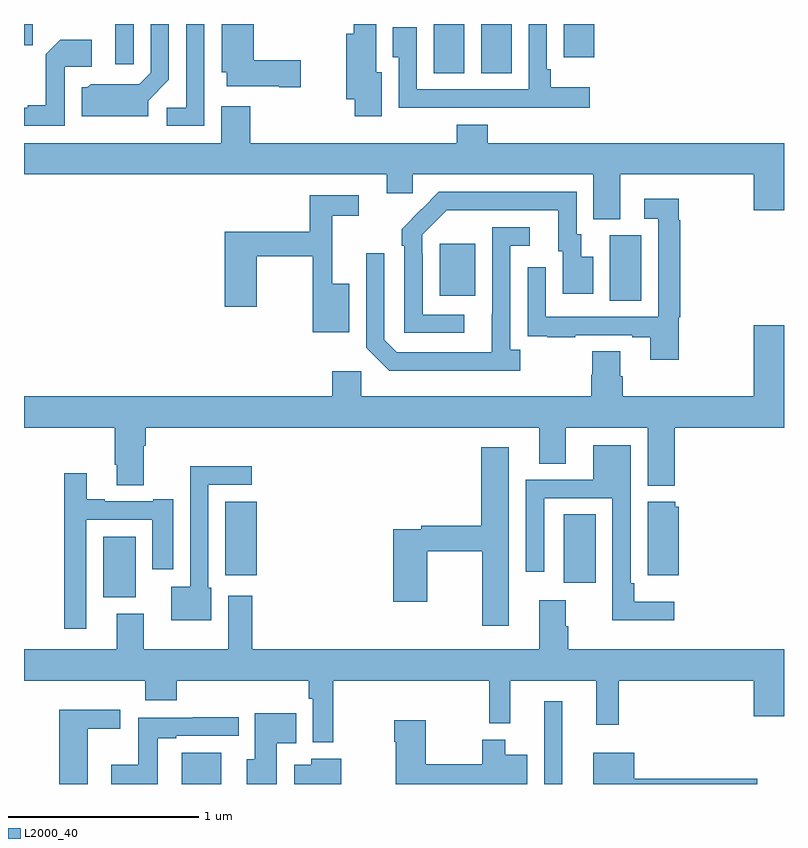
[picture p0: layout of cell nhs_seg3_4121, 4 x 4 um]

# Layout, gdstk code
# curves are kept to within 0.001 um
import gdstk
lib = gdstk.Library(unit=1e-6, precision=1e-09)
def R(c, l, rs):  # rectangles x0, y0, x1, y1
    for r in rs: c.add(gdstk.rectangle(r[:2], r[2:], *l))
def P(c, l, *ps):  # polygons
    for p in ps: c.add(gdstk.Polygon(p, *l))
L2000_40 = (2000, 40)

nhs_seg3_4121 = lib.new_cell('nhs_seg3_4121')
R(nhs_seg3_4121, L2000_40, [(329.831,672.4,330.037,672.565), (331.737,672.4,331.834,672.835), (329.417,673.382,329.587,673.702), (331.841,673.458,332.008,673.82), (330.059,673.499,330.226,673.885), (332.084,674.944,332.248,675.288), (331.187,674.969,331.375,675.244), (331.157,676.141,331.318,676.4), (331.406,676.141,331.567,676.4), (329.481,676.188,329.577,676.4), (331.841,676.224,332,676.4), (329,676.288,329.045,676.4)])
P(nhs_seg3_4121, L2000_40, [(331.193,675.96),(331.559,675.96),(331.559,675.959),(331.978,675.959),(331.978,676.066),(331.772,676.066),(331.772,676.162),(331.752,676.162),(331.752,676.4),(331.656,676.4),(331.656,676.056),(331.068,676.056),(331.068,676.384),(330.941,676.384),(330.941,676.225),(330.972,676.225),(330.972,675.959),(331.193,675.959)],
  [(330.457,676.208),(330.208,676.208),(330.208,676.4),(330.041,676.4),(330.041,676.146),(330.068,676.146),(330.068,676.073),(330.344,676.073),(330.344,676.066),(330.457,676.066)],
  [(329.653,675.996),(329.763,676.106),(329.763,676.4),(329.667,676.4),(329.667,676.143),(329.607,676.083),(329.35,676.084),(329.334,676.068),(329.303,676.068),(329.303,675.914),(329.653,675.914)],
  [(330.883,676.147),(330.853,676.147),(330.853,676.4),(330.735,676.4),(330.735,676.348),(330.695,676.348),(330.695,676.004),(330.74,676.004),(330.74,675.915),(330.883,675.915)],
  [(329.949,676.4),(329.853,676.4),(329.853,675.96),(329.751,675.96),(329.751,675.864),(329.949,675.864)],
  [(329.214,676.176),(329.356,676.176),(329.356,676.316),(329.191,676.316),(329.115,676.24),(329.115,675.973),(329.021,675.973),(329.021,675.96),(329,675.96),(329,675.864),(329.214,675.864)],
  [(332.137,675.608),(332.84,675.608),(332.84,675.42),(333,675.42),(333,675.772),(331.442,675.772),(331.442,675.871),(331.277,675.871),(331.277,675.772),(330.191,675.772),(330.191,675.967),(330.038,675.967),(330.038,675.772),(329,675.772),(329,675.608),(330.908,675.608),(330.908,675.51),(331.047,675.51),(331.047,675.608),(331.997,675.608),(331.997,675.373),(332.137,675.373)],
  [(331.318,674.871),(331.098,674.871),(331.098,675.191),(331.095,675.191),(331.095,675.291),(331.224,675.42),(331.811,675.42),(331.811,675.204),(331.835,675.204),(331.835,674.979),(331.996,674.979),(331.996,675.175),(331.933,675.175),(331.933,675.294),(331.908,675.294),(331.908,675.516),(331.184,675.516),(330.987,675.321),(330.987,675.233),(331.002,675.233),(331.002,674.775),(331.318,674.775)],
  [(330.712,675.034),(330.623,675.034),(330.623,675.39),(330.763,675.39),(330.763,675.498),(330.505,675.498),(330.505,675.307),(330.056,675.307),(330.056,674.913),(330.226,674.913),(330.226,675.178),(330.52,675.178),(330.52,674.777),(330.712,674.777)],
  [(332.446,674.856),(332.453,674.856),(332.453,675.368),(332.446,675.368),(332.446,675.481),(332.265,675.481),(332.265,675.375),(332.337,675.375),(332.337,674.859),(331.746,674.859),(331.746,675.121),(331.65,675.121),(331.65,674.866),(331.651,674.866),(331.651,674.757),(331.753,674.757),(331.753,674.751),(331.901,674.751),(331.901,674.763),(332.201,674.763),(332.201,674.751),(332.297,674.751),(332.297,674.634),(332.446,674.634)],
  [(331.612,674.686),(331.56,674.686),(331.56,675.234),(331.663,675.234),(331.663,675.33),(331.464,675.33),(331.463,674.673),(330.963,674.673),(330.897,674.739),(330.897,675.193),(330.801,675.193),(330.801,674.697),(330.922,674.576),(331.612,674.576)],
  [(332.426,674.276),(333,674.276),(333,674.815),(332.84,674.815),(332.84,674.44),(332.15,674.44),(332.15,674.546),(332.137,674.546),(332.137,674.678),(331.99,674.678),(331.99,674.553),(331.985,674.553),(331.985,674.44),(330.774,674.44),(330.774,674.572),(330.623,674.572),(330.623,674.44),(329,674.44),(329,674.276),(329.477,674.276),(329.477,674.08),(329.489,674.08),(329.489,673.972),(329.629,673.972),(329.629,674.18),(329.642,674.18),(329.642,674.276),(331.712,674.276),(331.712,674.086),(331.852,674.086),(331.852,674.276),(332.282,674.276),(332.282,673.97),(332.426,673.97)],
  [(332.422,673.36),(332.213,673.36),(332.213,673.456),(332.193,673.456),(332.193,674.182),(331.997,674.182),(331.997,674.001),(331.641,674.001),(331.641,673.518),(331.737,673.518),(331.737,673.905),(332.097,673.905),(332.097,673.262),(332.422,673.262)],
  [(331.552,674.173),(331.406,674.173),(331.406,673.76),(331.09,673.76),(331.09,673.74),(330.944,673.74),(330.944,673.359),(331.122,673.359),(331.122,673.624),(331.411,673.624),(331.411,673.233),(331.552,673.233)],
  [(329.986,673.434),(329.97,673.434),(329.97,673.974),(330.199,673.974),(330.199,674.072),(329.874,674.072),(329.874,673.438),(329.774,673.438),(329.774,673.262),(329.986,673.262)],
  [(329.328,673.791),(329.675,673.791),(329.675,673.53),(329.785,673.53),(329.785,673.9),(329.681,673.9),(329.681,673.887),(329.425,673.887),(329.425,673.9),(329.329,673.9),(329.329,674.035),(329.212,674.035),(329.212,673.218),(329.328,673.218)],
  [(332.446,673.86),(332.427,673.86),(332.427,673.885),(332.282,673.885),(332.282,673.499),(332.446,673.499)],
  [(330.628,672.944),(331.449,672.944),(331.449,672.719),(331.559,672.719),(331.559,672.944),(332.012,672.944),(332.012,672.711),(332.129,672.711),(332.129,672.944),(332.84,672.944),(332.84,672.756),(333,672.756),(333,673.108),(331.865,673.108),(331.865,673.229),(331.852,673.229),(331.852,673.366),(331.712,673.366),(331.712,673.108),(330.2,673.108),(330.2,673.39),(330.074,673.39),(330.074,673.108),(329.629,673.108),(329.629,673.297),(329.489,673.297),(329.489,673.108),(329,673.108),(329,672.944),(329.639,672.944),(329.639,672.842),(329.804,672.842),(329.804,672.944),(330.499,672.944),(330.499,672.848),(330.519,672.848),(330.519,672.621),(330.628,672.621)],
  [(329.335,672.692),(329.506,672.692),(329.506,672.79),(329.186,672.79),(329.186,672.4),(329.335,672.4)],
  [(330.331,672.614),(330.434,672.614),(330.434,672.772),(330.215,672.772),(330.215,672.531),(330.173,672.531),(330.173,672.4),(330.331,672.4)],
  [(329.703,672.642),(329.8,672.642),(329.8,672.654),(330.13,672.654),(330.13,672.752),(329.887,672.752),(329.887,672.75),(329.602,672.75),(329.602,672.502),(329.46,672.502),(329.46,672.4),(329.703,672.4)],
  [(331.648,672.553),(331.534,672.553),(331.534,672.634),(331.412,672.634),(331.412,672.505),(331.114,672.505),(331.114,672.736),(330.949,672.736),(330.949,672.623),(330.956,672.623),(330.956,672.4),(331.648,672.4)],
  [(332.86,672.428),(332.212,672.428),(332.212,672.565),(331.997,672.565),(331.997,672.4),(332.86,672.4)],
  [(330.67,672.532),(330.512,672.532),(330.512,672.502),(330.422,672.502),(330.422,672.4),(330.67,672.4)])

lib.write_gds('nhs_seg3_4121.gds')
